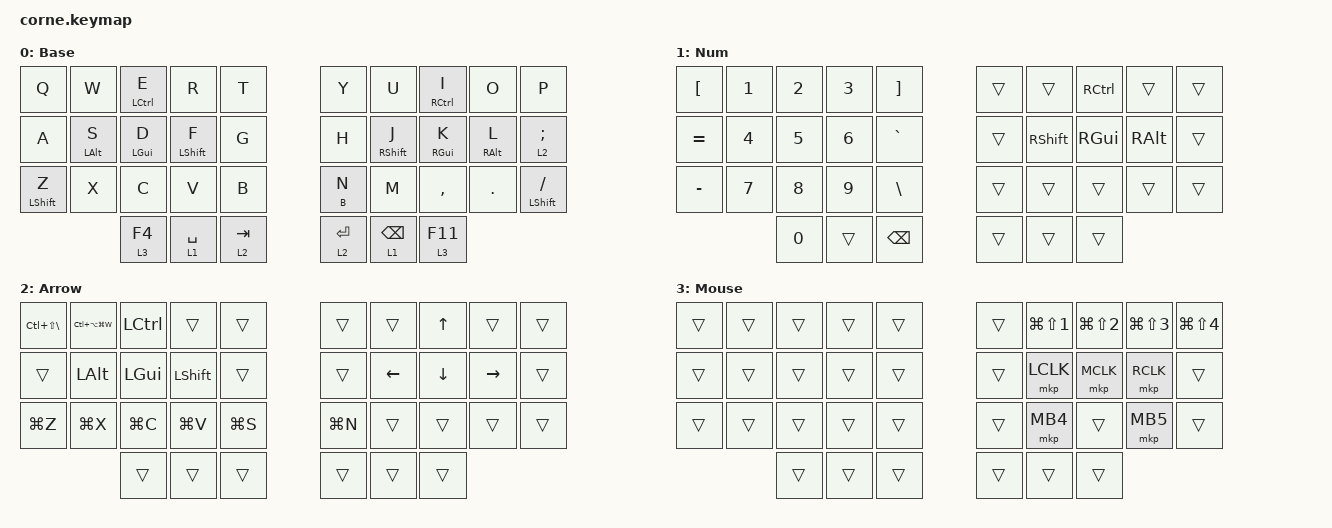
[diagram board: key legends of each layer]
/*
 * Copyright (c) 2020 The ZMK Contributors
 *
 * SPDX-License-Identifier: MIT
 */

#include <behaviors.dtsi>
#include <dt-bindings/zmk/keys.h>
#include <dt-bindings/zmk/bt.h>
#include <dt-bindings/zmk/mouse.h>


#define AS(keycode) &as LS(keycode) keycode

/ {
    chosen {
      zmk,matrix_transform = &five_column_transform;
    };

    combos {
    compatible = "zmk,combos";
    combo_esc { 
        timeout-ms = <50>;
        key-positions = <0 1>;
        layers = <0>;
        bindings = <&kp ESC>;
    };

    combo_dquote{
        timeout-ms = <50>;
        key-positions = <1 2>;
        layers = <0>;
        bindings = <&kp DQT>;  
    };

    combo_quote{
        timeout-ms = <50>;
        key-positions = <7 8>;
        layers = <0>;
        bindings = <&kp SQT>;
    };

    combo_lpar{
        timeout-ms = <50>;
        key-positions = <11 12>;
        layers = <0>;
        bindings = <&kp LPAR>;
    };

    combo_rpar{
        timeout-ms = <50>;
        key-positions = <17 18>;
        layers = <0>;
        bindings = <&kp RPAR>;
    };

    combo_caps{
        timeout-ms = <50>;
        key-positions = <27 28>;
        layers = <0>;
        bindings = <&kp CAPS>;
    };

    combo_capsword{
        timeout-ms = <50>;
        key-positions = <21 22>;
        layers = <0>;
        bindings = <&caps_word>;
    };

    combo_lskshft{
        timeout-ms = <50>;
        key-positions = <12 13>;
        layers = <0>;
        bindings = <&sk LSHIFT>;
    };

    combo_rskshft{
        timeout-ms = <50>;
        key-positions = <16 17>;
        layers = <0>;
        bindings = <&sk RSHIFT>;
    };

    };

    behaviors {
        as: auto_shift {
            compatible = "zmk,behavior-hold-tap";
            #binding-cells = <2>;
            tapping_term_ms = <200>;
            quick_tap_ms = <0>;
            flavor = "tap-preferred";
            bindings = <&kp>, <&kp>;
        };

        hm: homerow_mods {
            compatible = "zmk,behavior-hold-tap";
            #binding-cells = <2>;
            tapping-term-ms = <150>;
            quick-tap-ms = <0>;
            flavor = "tap-preferred";
            bindings = <&kp>, <&kp>;
        };
    };
        keymap {
                compatible = "zmk,keymap";

                default_layer {
                display-name = "Base";
                bindings = < 
                &kp Q          &kp W        &hm LCTRL E &kp R        &kp T          &kp Y        &kp U        &hm RCTRL I     &kp O         &kp P
                &kp A          &hm LALT S   &hm LGUI D  &hm LSHFT F  &kp G          &kp H        &hm RSHFT J  &hm RGUI K      &hm RALT L    &lt 2 SEMI
                &hm LSHFT Z    &kp X        &kp C       &kp V        &kp B          &hm B N      &kp M        &kp COMMA       &kp DOT       &hm LSHFT FSLH
                                            &lt 3 F4    &lt 1 SPACE  &lt 2 TAB      &lt 2 RET    &lt 1 BSPC   &lt 3 F11  
                >;
                };

                num_layer {
                display-name = "Num";
                bindings = <
                &kp LBKT   &kp N1  &kp N2  &kp N3  &kp RBKT        &trans   &trans      &kp RCTRL  &trans  &trans 
                &kp EQUAL  &kp N4  &kp N5  &kp N6  &kp GRAVE       &trans   &kp RSHFT   &kp RGUI   &kp RALT  &trans 
                &kp MINUS  &kp N7  &kp N8  &kp N9  &kp BSLH        &trans   &trans      &trans     &trans  &trans 
                                   &kp N0  &trans  &kp BSPC        &trans   &trans      &trans
                >;
                };

                arrow_layer {
                display-name = "Arrow";
                bindings = <
                &kp LC(LS(BSLH))  &kp LC(LA(LG(W)))  &kp LCTRL  &trans     &trans          &trans     &trans     &kp UP    &trans      &trans
                &trans            &kp LALT           &kp LGUI   &kp LSHFT   &trans         &trans     &kp LEFT   &kp DOWN  &kp RIGHT   &trans
                &kp LG(Z)         &kp LG(X)          &kp LG(C)  &kp LG(V)  &kp LG(S)       &kp LG(N)  &trans     &trans    &trans      &trans
                                                     &trans     &trans     &trans          &trans     &trans     &trans
                >;
                };

                mouse_layer {
                display-name = "Mouse";
                bindings = <
                &trans   &trans   &trans    &trans   &trans          &trans   &kp LG(LS(N1))    &kp LG(LS(N2))  &kp LG(LS(N3))  &kp LG(LS(N4))
                &trans   &trans   &trans    &trans   &trans          &trans   &mkp LCLK         &mkp MCLK       &mkp RCLK       &trans
                &trans   &trans   &trans    &trans   &trans          &trans   &mkp MB4          &trans          &mkp MB5        &trans
                                  &trans    &trans   &trans          &trans   &trans            &trans
                >;
                };  

        };
};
